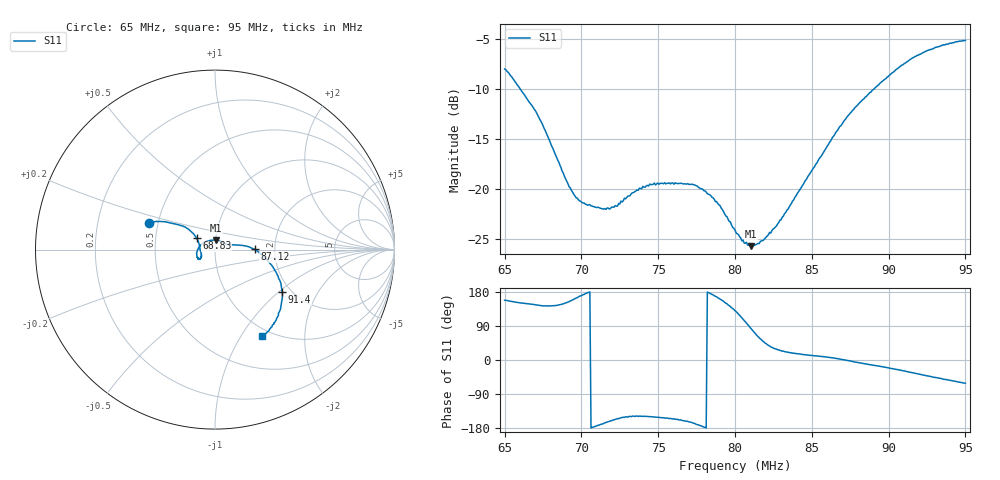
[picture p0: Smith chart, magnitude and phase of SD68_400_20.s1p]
! NanoVNA-App
! Date: 2025-08-02 16:19:16
! Start: 65MHz Stop: 95MHz Points: 401
! S-Parameter data: F S11
# Hz S RI R 50
!  Frequency  S11_Real  S11_Imag
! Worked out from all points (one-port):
!   401 points, 65 MHz to 95 MHz, reference 50 ohm
!   lowest |S11| = -25.7 dB at 81.05 MHz (marker M1), VSWR 1.11, Z = 50.4 + j5.21 ohm
!   |S11| at or under -10 dB: 66.01 MHz to 89.06 MHz (23.04 MHz wide, 29.7 % of centre)
!   S11 on the Smith chart (normalised r, x): 65 MHz: 0.45, +0.16; 68.83 MHz: 0.81, +0.10; 87.12 MHz: 1.57, +0.00; 91.4 MHz: 1.79, -1.06; 95 MHz: 0.90, -1.25
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6.5e7  -0.3674 0.1509
6.71e7  -0.1962 0.1359
6.875e7  -0.1033 0.0664
6.8825e7  -0.1024 0.0626
6.95e7  -0.0888 0.0324
7.0175e7  -0.0848 0.0103
7.145e7  -0.0776 -0.0174
7.25e7  -0.0754 -0.0379
7.4375e7  -0.0892 -0.053
7.625e7  -0.0979 -0.0429
7.7375e7  -0.1025 -0.0233
7.8425e7  -0.0925 0.00873
7.91e7  -0.0751 0.0293
8e7  -0.0401 0.048
8.0525e7  -0.0172 0.053
8.105e7  0.00676 0.0516
8.1425e7  0.0226 0.0483
8.2025e7  0.0419 0.0395
8.285e7  0.061 0.0307
8.375e7  0.0831 0.0271
8.5475e7  0.1397 0.0242
8.7125e7  0.2205 0.00138
8.75e7  0.2391 -0.0105
8.9375e7  0.3193 -0.0929
9.125e7  0.3713 -0.2238
9.14e7  0.3738 -0.2377
9.3125e7  0.3503 -0.3708
9.5e7  0.2639 -0.484
